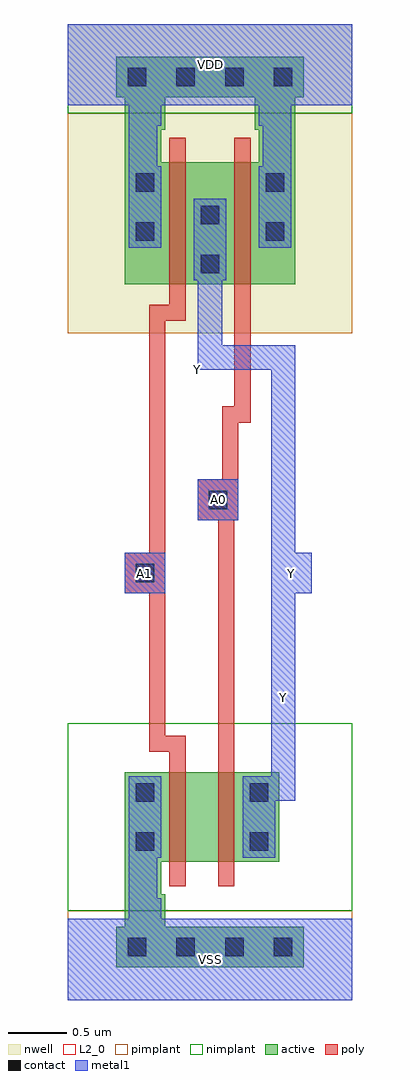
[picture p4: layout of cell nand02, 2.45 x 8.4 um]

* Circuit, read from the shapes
.subckt nand02 A0 A1 VDD VSS Y
M1 n1 A1 VSS VSS nfet w=0.77u l=0.14u
M2 Y A0 n1 VSS nfet w=0.77u l=0.14u
M3 Y A1 VDD VDD pfet w=1.05u l=0.14u
M4 VDD A0 Y VDD pfet w=1.05u l=0.14u
.ends

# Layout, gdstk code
from math import pi, radians
import gdstk
lib = gdstk.Library(unit=1e-6, precision=1e-09)
def R(c, l, rs):  # rectangles x0, y0, x1, y1
    for r in rs: c.add(gdstk.rectangle(r[:2], r[2:], *l))
def A(c, l, x, y, w, h, nx, ny, dx, dy):  # array of equal rectangles
    R(c, l, [(x+i*dx, y+j*dy, x+i*dx+w, y+j*dy+h) for i in range(nx) for j in range(ny)])
def P(c, l, *ps):  # polygons
    for p in ps: c.add(gdstk.Polygon(p, *l))
L2_0 = (2, 0)
nwell = (3, 0)
active = (6, 0)
poly = (17, 0)
pimplant = (25, 0)
nimplant = (26, 0)
contact = (30, 0)
metal1 = (31, 0)

adk_poly_m1 = lib.new_cell('ADK_poly_m1')
R(adk_poly_m1, poly, [(-0.175,-0.175,0.175,0.175)])
R(adk_poly_m1, contact, [(-0.08,-0.08,0.08,0.08)])
R(adk_poly_m1, metal1, [(-0.175,-0.175,0.175,0.175)])

nand02 = lib.new_cell('nand02')
R(nand02, L2_0, [(0,0,2.45,2.38)])
R(nand02, nwell, [(0,5.74,2.45,7.63), (0,5.74,2.45,8.4)])
R(nand02, active, [(0.42,0.28,2.03,0.63), (0.49,0.63,0.84,0.91), (0.49,0.91,0.805,1.19), (0.49,1.19,0.875,1.96), (0.49,1.19,1.82,1.96), (1.435,1.19,1.82,1.96), (0.49,6.16,1.96,7.21), (0.49,6.16,0.875,7.21), (1.575,6.16,1.96,7.21), (0.49,7.21,0.805,7.49), (1.645,7.21,1.96,7.49), (0.49,7.49,0.84,7.77), (1.61,7.49,1.96,7.77), (0.42,7.77,2.03,8.12)])
R(nand02, poly, [(0.875,0.98,1.015,1.19), (1.295,0.98,1.435,1.19), (0.875,1.19,1.015,1.96), (1.295,1.19,1.435,1.96), (0.875,1.96,1.015,2.17), (1.295,1.96,1.435,2.17), (1.295,2.135,1.435,4.13), (0.875,5.95,1.015,6.16), (1.435,5.95,1.575,6.16), (0.875,6.16,1.015,7.21), (1.435,6.16,1.575,7.21), (0.875,7.21,1.015,7.42), (1.435,7.21,1.575,7.42)])
P(nand02, poly, [(0.7,2.135),(1.015,2.135),(1.015,2.275),(0.84,2.275),(0.84,3.5),(0.7,3.5)],
  [(0.7,3.85),(0.84,3.85),(0.84,5.845),(1.015,5.845),(1.015,5.985),(0.7,5.985)],
  [(1.33,4.48),(1.47,4.48),(1.47,4.97),(1.575,4.97),(1.575,5.985),(1.435,5.985),(1.435,5.11),(1.33,5.11)])
R(nand02, pimplant, [(0,0,2.45,0.77), (0,5.74,2.45,7.63)])
R(nand02, nimplant, [(0,0.77,2.45,2.38), (0,7.63,2.45,8.4)])
A(nand02, contact, 0.515, 0.375, 0.16, 0.16, 4, 2, 0.42, 7.49)
R(nand02, contact, [(0.585,1.285,0.745,1.445), (1.565,1.285,1.725,1.445), (0.585,1.705,0.745,1.865), (1.565,1.705,1.725,1.865), (1.145,6.255,1.305,6.415), (0.585,6.535,0.745,6.695), (1.705,6.535,1.865,6.695), (1.145,6.675,1.305,6.835), (0.585,6.955,0.745,7.115), (1.705,6.955,1.865,7.115)])
R(nand02, metal1, [(0,0,2.45,0.7), (0,0,2.45,0.7), (0.525,0.7,0.805,0.875), (0.525,0.875,0.77,1.225), (0.525,1.225,0.805,1.925), (1.505,1.225,1.785,1.925), (1.75,1.715,1.96,3.5), (0.49,3.5,0.84,3.85), (1.75,3.5,2.1,3.85), (1.75,3.5,2.1,3.85), (1.12,4.13,1.47,4.48), (1.085,6.195,1.365,6.895), (0.525,6.475,0.805,7.175), (1.645,6.475,1.925,7.175), (0.525,7.175,0.77,7.525), (1.68,7.175,1.925,7.525), (0.525,7.525,0.805,7.7), (1.645,7.525,1.925,7.7), (0,7.7,2.45,8.4), (0,7.7,2.45,8.4)])
P(nand02, metal1, [(1.12,5.425),(1.75,5.425),(1.75,3.85),(1.96,3.85),(1.96,5.635),(1.33,5.635),(1.33,6.195),(1.12,6.195)])
nand02.add(gdstk.Reference(adk_poly_m1, (0.665,3.675), rotation=pi))
nand02.add(gdstk.Reference(adk_poly_m1, (1.295,4.305), rotation=pi))
nand02.add(gdstk.Label('A1', (0.665,3.675), layer=131, texttype=0))
nand02.add(gdstk.Label('VSS', (1.225,0.35), layer=131, texttype=0))
nand02.add(gdstk.Label('Y', (1.925,3.675), layer=131, texttype=0))
nand02.add(gdstk.Label('VDD', (1.225,8.05), layer=131, texttype=0))
nand02.add(gdstk.Label('A0', (1.295,4.305), layer=131, texttype=0))
nand02.add(gdstk.Label('A1', (0.665,3.675), layer=31, texttype=0))
nand02.add(gdstk.Label('A0', (1.295,4.305), layer=31, texttype=0))
nand02.add(gdstk.Label('Y', (1.925,3.675), layer=31, texttype=0))
nand02.add(gdstk.Label('Y', (1.12,5.425), layer=31, texttype=0))
nand02.add(gdstk.Label('Y', (1.855,2.607), layer=31, texttype=0))
nand02.add(gdstk.Label('VDD', (1.225,8.05), layer=31, texttype=0))
nand02.add(gdstk.Label('VSS', (1.225,0.35), layer=31, texttype=0))

lib.write_gds('nand02.gds')
